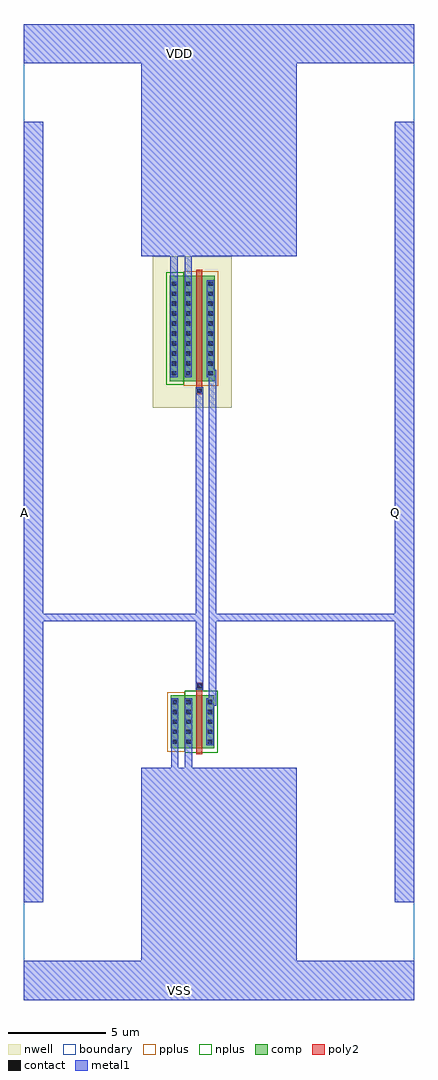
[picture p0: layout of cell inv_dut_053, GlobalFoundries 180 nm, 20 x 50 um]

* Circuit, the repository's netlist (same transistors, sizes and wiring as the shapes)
* inv_dut_053: pfet_03v3 W=5.40u L=0.30u / nfet_03v3 W=2.70u L=0.30u
.SUBCKT inv_dut_053 A Q VDD VSS
MMP Q A VDD VDD pfet_03v3 W=5.40u L=0.30u
MMN Q A VSS VSS nfet_03v3 W=2.70u L=0.30u
.ENDS

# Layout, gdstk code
import gdstk
lib = gdstk.Library(unit=1e-6, precision=1e-09)
def R(c, l, rs):  # rectangles x0, y0, x1, y1
    for r in rs: c.add(gdstk.rectangle(r[:2], r[2:], *l))
def A(c, l, x, y, w, h, nx, ny, dx, dy):  # array of equal rectangles
    R(c, l, [(x+i*dx, y+j*dy, x+i*dx+w, y+j*dy+h) for i in range(nx) for j in range(ny)])
def P(c, l, *ps):  # polygons
    for p in ps: c.add(gdstk.Polygon(p, *l))
boundary = (0, 0)
nwell = (21, 0)
comp = (22, 0)
poly2 = (30, 0)
pplus = (31, 0)
nplus = (32, 0)
contact = (33, 0)
metal1 = (34, 0)

inv_dut_053 = lib.new_cell('inv_dut_053')
R(inv_dut_053, boundary, [(-10,-25,10,25)])
R(inv_dut_053, nwell, [(-3.395,5.33,0.655,13.09)])
R(inv_dut_053, comp, [(-2.475,-12.1,-0.245,-9.4), (-2.535,6.7,-0.205,12.1)])
P(inv_dut_053, poly2, [(-1.155,-12.4),(-1.155,-9.1),(-1.185,-9.1),(-1.185,-8.74),(-0.825,-8.74),(-0.825,-9.1),(-0.855,-9.1),(-0.855,-12.4)],
  [(-1.195,6.02),(-1.195,6.4),(-1.155,6.4),(-1.155,12.4),(-0.855,12.4),(-0.855,6.4),(-0.815,6.4),(-0.815,6.02)])
R(inv_dut_053, pplus, [(-2.645,-12.27,-1.765,-9.23), (-1.805,6.46,-0.035,12.34)])
R(inv_dut_053, nplus, [(-1.765,-12.34,-0.075,-9.16), (-2.705,6.53,-1.805,12.27)])
A(inv_dut_053, contact, -2.375, -11.88, 0.22, 0.22, 1, 5, 0, 0.51)
A(inv_dut_053, contact, -1.665, -11.88, 0.22, 0.22, 1, 5, 0, 0.51)
A(inv_dut_053, contact, -0.565, -11.88, 0.22, 0.22, 1, 5, 0, 0.51)
A(inv_dut_053, contact, -2.415, 6.995, 0.22, 0.22, 1, 10, 0, 0.51)
A(inv_dut_053, contact, -1.685, 6.995, 0.22, 0.22, 1, 10, 0, 0.51)
A(inv_dut_053, contact, -0.545, 6.995, 0.22, 0.22, 1, 10, 0, 0.51)
R(inv_dut_053, contact, [(-1.115,-9.03,-0.895,-8.81), (-1.115,6.1,-0.895,6.32)])
R(inv_dut_053, metal1, [(-10,-25,10,-23), (-3.995,-23,3.995,-13.4), (-10,-20,-9,20), (9,-20,10,20), (-3.995,-13.7,3.995,-13.1), (-2.455,-13.7,-2.075,-9.54), (-1.745,-13.7,-1.365,-9.54), (-2.455,-11.96,-2.075,-9.54), (-1.745,-11.96,-1.365,-9.54), (-0.645,-11.96,-0.265,-9.54), (-0.645,-9.92,-0.135,-9.54), (-0.515,-9.92,-0.135,7.295), (-1.195,-9.11,-0.815,6.4), (-1.195,-9.11,-0.815,-8.73), (-9,-5.6,-3.695,-5.2), (-3.995,-5.6,-0.815,-5.2), (-0.515,-5.6,3.995,-5.2), (3.695,-5.6,9,-5.2), (-1.195,6.02,-0.815,6.4), (-2.495,6.915,-2.115,13.7), (-2.495,6.915,-2.115,11.885), (-1.765,6.915,-1.385,13.7), (-1.765,6.915,-1.385,11.885), (-0.625,6.915,-0.135,7.295), (-0.625,6.915,-0.245,11.885), (-3.995,13.1,3.995,13.7), (-3.995,13.4,3.995,23), (-10,23,10,25)])
inv_dut_053.add(gdstk.Label('VDD', (-2,23.5), layer=34, texttype=10))
inv_dut_053.add(gdstk.Label('VSS', (-2,-24.5), layer=34, texttype=10))
inv_dut_053.add(gdstk.Label('A', (-9.97,0), layer=34, texttype=10))
inv_dut_053.add(gdstk.Label('Q', (9.03,0), layer=34, texttype=10))

lib.write_gds('inv_dut_053.gds')
